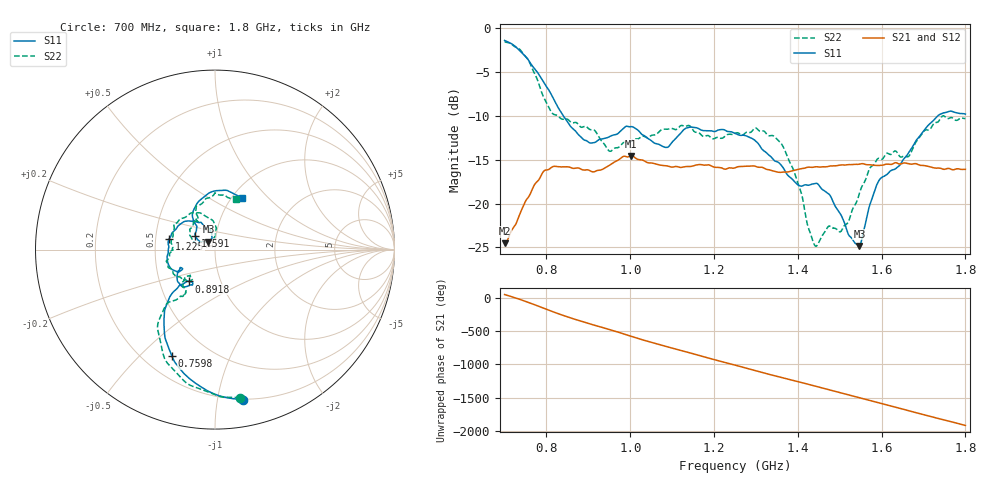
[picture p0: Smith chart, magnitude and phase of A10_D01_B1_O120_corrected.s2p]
! Created with skrf 1.9.0 (http://scikit-rf.org).
# Hz S RI R 50.0
!freq ReS11 ImS11 ReS21 ImS21 ReS12 ImS12 ReS22 ImS22
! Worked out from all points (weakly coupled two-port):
!   1601 points, 700 MHz to 1.8 GHz, reference 50 ohm
!   highest |S21| = -14.58 dB at 1.002 GHz (marker M1); lowest = -24.5 dB at 700 MHz (marker M2)
!   lowest |S11| = -24.8 dB at 1.547 GHz (marker M3), VSWR 1.12, Z = 46.3 + j4.09 ohm
!   |S11| at or under -10 dB: 840.1 MHz to 1.734 GHz (893.9 MHz wide, 69.4 % of centre)
!   |S22| runs from -24.9 to -1.5 dB; largest |S21 - S12| = 0.0038
!   S11 on the Smith chart (normalised r, x): 700 MHz: 0.20, -1.19; 759.8 MHz: 0.31, -0.63; 891.8 MHz: 0.70, -0.26; 1.225 GHz: 0.59, +0.07; 1.591 GHz: 0.80, +0.12; 1.8 GHz: 1.12, +0.71
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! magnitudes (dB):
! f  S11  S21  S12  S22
! 700 MHz  -1.4  -24.5  -24.3  -1.5
! 759.8 MHz  -3.9  -19.0  -18.9  -3.9
! 812.8 MHz  -7.7  -15.8  -15.8  -9.6
! 883.6 MHz  -12.5  -16.1  -16.0  -11.3
! 891.8 MHz  -12.8  -16.2  -16.2  -11.2
! 950.9 MHz  -12.4  -15.6  -15.6  -14.0
! 1.002 GHz  -11.2  -14.6  -14.7  -12.9
! 1.067 GHz  -13.2  -15.6  -15.5  -11.9
! 1.139 GHz  -11.3  -15.8  -15.7  -11.1
! 1.225 GHz  -11.6  -16.1  -16.0  -12.4
! 1.25 GHz  -12.0  -15.9  -15.9  -12.0
! 1.3 GHz  -12.9  -15.8  -15.8  -11.4
! 1.36 GHz  -15.6  -16.4  -16.4  -13.1
! 1.405 GHz  -18.0  -16.1  -16.1  -18.3
! 1.434 GHz  -17.8  -15.9  -15.8  -23.9
! 1.504 GHz  -21.4  -15.6  -15.6  -23.1
! 1.547 GHz  -24.8  -15.5  -15.5  -18.8
! 1.591 GHz  -17.6  -15.7  -15.6  -14.9
! 1.617 GHz  -16.5  -15.5  -15.5  -14.3
! 1.664 GHz  -14.2  -15.4  -15.4  -14.6
! 1.735 GHz  -9.9  -15.9  -16.0  -10.7
! 1.8 GHz  -9.8  -16.1  -16.1  -10.3
